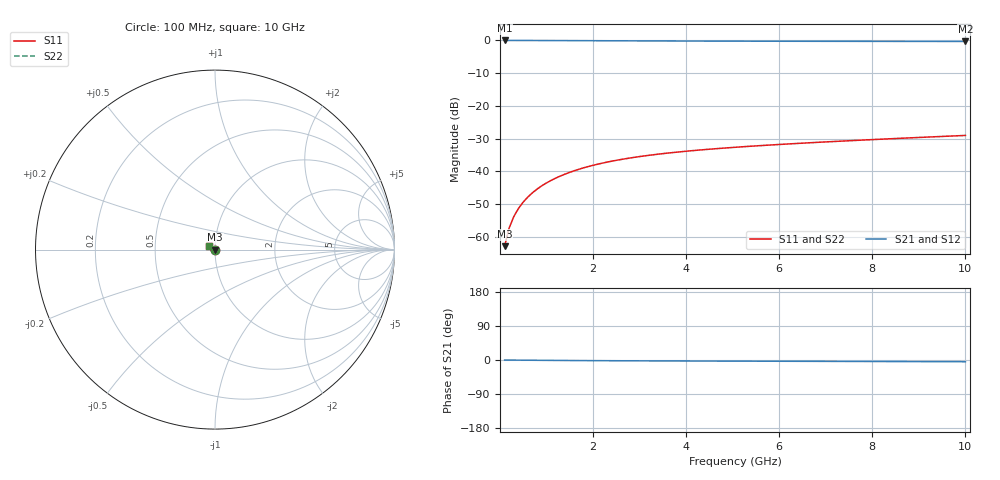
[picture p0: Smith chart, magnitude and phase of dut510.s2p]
! Touchstone file exported from HFSS 2024.1.0
!  File:  C:/UserFiles/LocalFiles/RDL_TSV_Batchsim/temp_TSV1_510_1779702436.aedt
!  Generated:  05:52:47 PM May 25, 2026
!  Design:  TSV1
!  Project:  temp_TSV1_510_1779702436
!  Setup:  Setup1
!  Solution:  Sweep
! Variables:
!  dtsv = 7.38um
!  hbump = 3um
!  htsv = 66.38um
!  lrdl = 252.1521522um
!  p = 40
!  p1 = 54.29um
!  t = 500um
!  trdl = 3um
!  wrdl = 24.89489489um
# GHz S MA R 50.000000
! Terminal data exported
! Port[1] = TSV22_T1
! Port[2] = TSV22_T2
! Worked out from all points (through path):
!   100 points, 100 MHz to 10 GHz, reference 50 ohm
!   highest |S21| = 0.00 dB at 100 MHz (marker M1); lowest = -0.3 dB at 10 GHz (marker M2)
!   lowest |S11| = -62.8 dB at 100 MHz (marker M3), VSWR 1.00, Z = 50 - j0.0694 ohm
!   |S11| at or under -10 dB: start of sweep to end of sweep
!   |S22| runs from -62.8 to -29.0 dB; largest |S21 - S12| = 4.7e-15
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0.1  0.0007245 -73.3  0.9997 -0.1  0.9997 -0.1  0.0007245 -73.3
! Gamma 0 0 0 0
! Port Impedance 50 0 50 0
0.2  0.001389 -84.8  0.9996 -0.2  0.9996 -0.2  0.001389 -84.8
0.3  0.002065 -90.3  0.9995 -0.3  0.9995 -0.3  0.002065 -90.3
0.4  0.002741 -94.2  0.9993 -0.4  0.9993 -0.4  0.002741 -94.2
0.5  0.003414 -97.4  0.999 -0.5  0.999 -0.5  0.003414 -97.4
0.6  0.004083 -100.3  0.9987 -0.6  0.9987 -0.6  0.004083 -100.3
0.7  0.004746 -103.0  0.9984 -0.7  0.9984 -0.7  0.004746 -103.0
0.8  0.005402 -105.5  0.998 -0.8  0.998 -0.8  0.005402 -105.5
0.9  0.00605 -107.9  0.9975 -0.8  0.9975 -0.8  0.00605 -107.9
1.1  0.007317 -112.5  0.9966 -1.0  0.9966 -1.0  0.007317 -112.5
1.4  0.009134 -119.0  0.9949 -1.3  0.9949 -1.3  0.009134 -119.0
1.6  0.01028 -123.1  0.9937 -1.4  0.9937 -1.4  0.01028 -123.1
1.8  0.01138 -127.1  0.9925 -1.5  0.9925 -1.5  0.01138 -127.1
2.1  0.01292 -132.8  0.9905 -1.7  0.9905 -1.7  0.01292 -132.8
2.5  0.0148 -139.8  0.988 -2.0  0.988 -2.0  0.0148 -139.8
2.9  0.01649 -146.3  0.9855 -2.2  0.9855 -2.2  0.01649 -146.3
3.4  0.01838 -153.8  0.9826 -2.4  0.9826 -2.4  0.01838 -153.8
4.2  0.02099 -164.4  0.9787 -2.7  0.9787 -2.7  0.02099 -164.4
5.1  0.02353 -174.5  0.9752 -3.0  0.9752 -3.0  0.02353 -174.5
6.7  0.02755 170.9  0.9708 -3.5  0.9708 -3.5  0.02754 170.9
8.4  0.03161 158.8  0.9677 -4.1  0.9677 -4.1  0.03161 158.8
10  0.0355 149.8  0.9657 -4.6  0.9657 -4.6  0.0355 149.8
